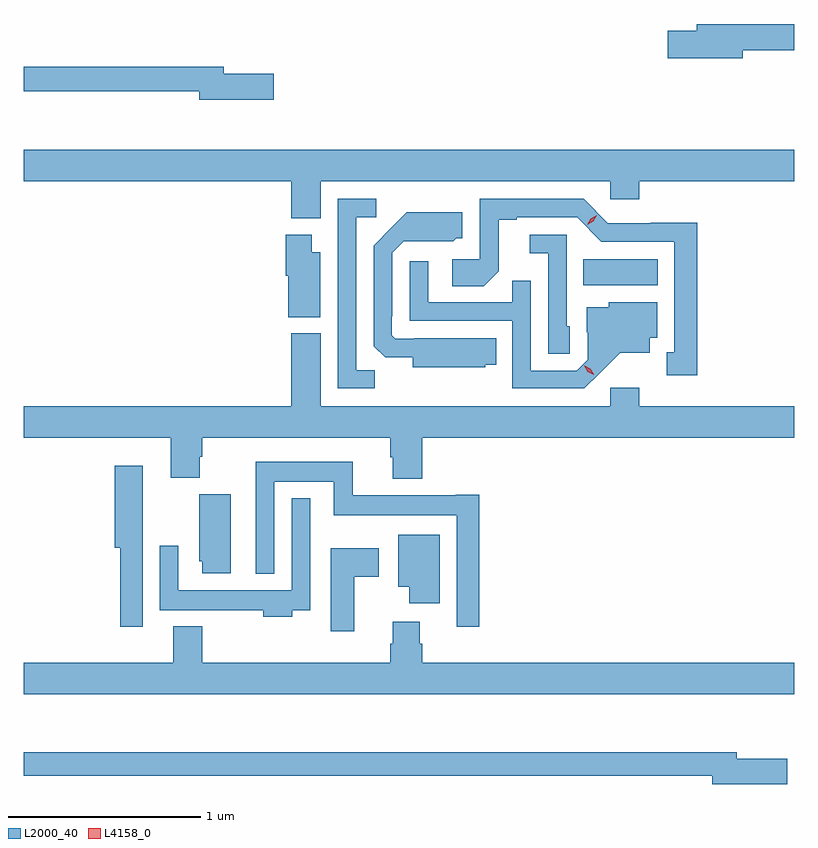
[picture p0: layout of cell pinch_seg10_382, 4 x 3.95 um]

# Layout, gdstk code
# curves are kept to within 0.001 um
import gdstk
lib = gdstk.Library(unit=1e-6, precision=1e-09)
def R(c, l, rs):  # rectangles x0, y0, x1, y1
    for r in rs: c.add(gdstk.rectangle(r[:2], r[2:], *l))
def P(c, l, *ps):  # polygons
    for p in ps: c.add(gdstk.Polygon(p, *l))
L2000_40 = (2000, 40)
L4158_0 = (4158, 0)

pinch_seg10_382 = lib.new_cell('pinch_seg10_382')
R(pinch_seg10_382, L2000_40, [(580.48,1253.156,580.867,1253.29)])
P(pinch_seg10_382, L2000_40, [(581.308,1254.376),(581.576,1254.376),(581.576,1254.512),(581.069,1254.512),(581.069,1254.476),(580.92,1254.476),(580.92,1254.334),(581.308,1254.334)],
  [(578.875,1254.254),(578.614,1254.254),(578.614,1254.29),(577.576,1254.29),(577.576,1254.162),(578.486,1254.162),(578.486,1254.119),(578.875,1254.119)],
  [(579.118,1253.696),(580.62,1253.696),(580.62,1253.603),(580.772,1253.603),(580.772,1253.696),(581.576,1253.696),(581.576,1253.86),(577.576,1253.86),(577.576,1253.696),(578.966,1253.696),(578.966,1253.504),(579.118,1253.504)],
  [(581.071,1253.48),(580.83,1253.48),(580.83,1253.478),(580.608,1253.478),(580.482,1253.604),(579.942,1253.604),(579.942,1253.292),(579.801,1253.292),(579.801,1253.152),(579.965,1253.152),(580.041,1253.228),(580.041,1253.496),(580.135,1253.496),(580.135,1253.508),(580.449,1253.508),(580.575,1253.382),(580.952,1253.382),(580.952,1252.809),(580.913,1252.809),(580.913,1252.689),(581.071,1252.689)],
  [(579.399,1252.715),(579.303,1252.715),(579.303,1253.508),(579.406,1253.508),(579.406,1253.604),(579.207,1253.604),(579.207,1252.62),(579.399,1252.62)],
  [(579.972,1252.742),(580.028,1252.742),(580.028,1252.882),(579.604,1252.882),(579.604,1252.878),(579.504,1252.878),(579.486,1252.896),(579.486,1252.996),(579.489,1252.996),(579.489,1253.325),(579.549,1253.385),(579.806,1253.384),(579.822,1253.4),(579.853,1253.4),(579.853,1253.536),(579.565,1253.536),(579.393,1253.362),(579.393,1252.84),(579.452,1252.781),(579.596,1252.781),(579.596,1252.73),(579.972,1252.73)],
  [(579.115,1253.326),(579.07,1253.326),(579.07,1253.419),(578.936,1253.419),(578.936,1253.205),(578.948,1253.205),(578.948,1252.991),(579.115,1252.991)],
  [(580.41,1252.944),(580.395,1252.944),(580.395,1253.418),(580.203,1253.418),(580.203,1253.321),(580.299,1253.321),(580.299,1252.801),(580.41,1252.801)],
  [(580.57,1252.703),(580.673,1252.805),(580.825,1252.805),(580.825,1252.884),(580.864,1252.884),(580.864,1253.068),(580.614,1253.068),(580.614,1253.041),(580.499,1253.041),(580.499,1252.912),(580.503,1252.912),(580.503,1252.77),(580.446,1252.713),(580.209,1252.713),(580.209,1253.18),(580.111,1253.18),(580.111,1253.067),(579.675,1253.067),(579.675,1253.281),(579.579,1253.281),(579.579,1252.971),(580.113,1252.971),(580.113,1252.62),(580.486,1252.62)],
  [(579.644,1252.364),(581.576,1252.364),(581.576,1252.528),(580.772,1252.528),(580.772,1252.624),(580.62,1252.624),(580.62,1252.528),(579.118,1252.528),(579.118,1252.906),(578.966,1252.906),(578.966,1252.528),(577.576,1252.528),(577.576,1252.364),(578.339,1252.364),(578.339,1252.156),(578.491,1252.156),(578.491,1252.265),(578.504,1252.265),(578.504,1252.364),(579.479,1252.364),(579.479,1252.263),(579.491,1252.263),(579.491,1252.151),(579.644,1252.151)],
  [(579.941,1252.069),(579.818,1252.069),(579.818,1252.066),(579.284,1252.066),(579.284,1252.24),(578.78,1252.24),(578.78,1251.659),(578.877,1251.659),(578.877,1252.136),(579.186,1252.136),(579.186,1251.962),(579.825,1251.962),(579.825,1251.384),(579.941,1251.384)],
  [(578.193,1251.898),(578.194,1251.898),(578.194,1252.219),(578.048,1252.219),(578.048,1251.794),(578.077,1251.794),(578.077,1251.384),(578.193,1251.384)],
  [(578.65,1252.071),(578.486,1252.071),(578.486,1251.723),(578.504,1251.723),(578.504,1251.66),(578.65,1251.66)],
  [(578.971,1251.468),(579.063,1251.468),(579.063,1252.051),(578.967,1252.051),(578.967,1251.574),(578.379,1251.574),(578.379,1251.805),(578.283,1251.805),(578.283,1251.47),(578.587,1251.47),(578.587,1251.468),(578.819,1251.468),(578.819,1251.434),(578.971,1251.434)],
  [(579.736,1251.862),(579.521,1251.862),(579.521,1251.59),(579.578,1251.59),(579.578,1251.504),(579.736,1251.504)],
  [(579.292,1251.643),(579.418,1251.643),(579.418,1251.79),(579.17,1251.79),(579.17,1251.36),(579.292,1251.36)],
  [(581.576,1251.196),(579.644,1251.196),(579.644,1251.294),(579.631,1251.294),(579.631,1251.409),(579.491,1251.409),(579.491,1251.294),(579.479,1251.294),(579.479,1251.196),(578.504,1251.196),(578.504,1251.385),(578.351,1251.385),(578.351,1251.196),(577.576,1251.196),(577.576,1251.032),(581.576,1251.032)],
  [(581.539,1250.697),(581.278,1250.697),(581.278,1250.731),(577.576,1250.731),(577.576,1250.61),(581.15,1250.61),(581.15,1250.567),(581.539,1250.567)])
P(pinch_seg10_382, L4158_0, [(580.501,1253.469),(580.501,1253.469),(580.519,1253.502),(580.551,1253.52),(580.551,1253.52),(580.551,1253.52),(580.533,1253.488),(580.502,1253.469)],
  [(580.535,1252.692),(580.504,1252.707),(580.486,1252.737),(580.486,1252.737),(580.487,1252.737),(580.518,1252.722),(580.535,1252.693),(580.535,1252.692)])

lib.write_gds('pinch_seg10_382.gds')
